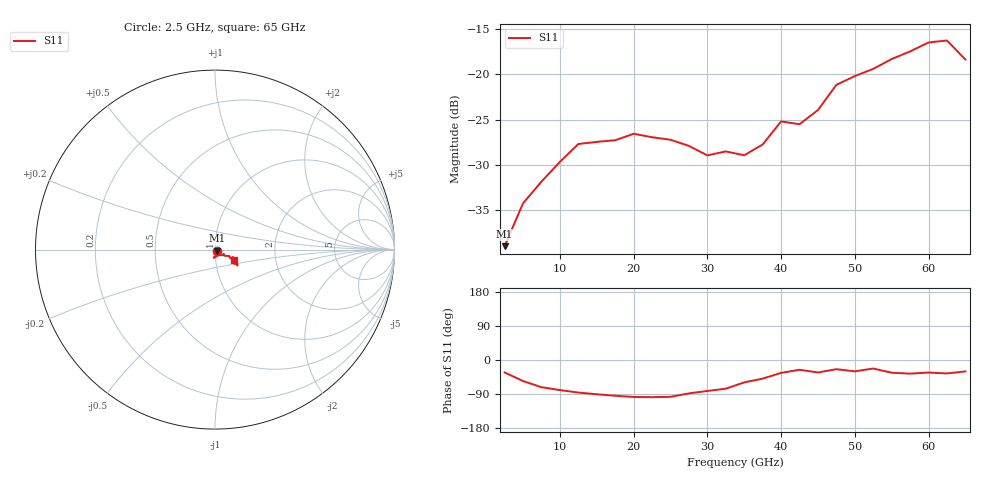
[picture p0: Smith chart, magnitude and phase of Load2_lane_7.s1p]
! File created by SignalIntegrity v1.5.1: Signal and Power Integrity Tools
! https://github.com/Nubis-Communications/SignalIntegrity
# MHz S MA R 50.0
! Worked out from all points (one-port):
!   26 points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, 2.5 GHz to 65 GHz, reference 50 ohm
!   lowest |S11| = -38.9 dB at 2.5 GHz (marker M1), VSWR 1.02, Z = 51 - j0.625 ohm
!   |S11| at or under -10 dB: start of sweep to end of sweep
2500  0.0113 -32.9
5000  0.01947 -55.5
7500  0.02565 -71.7
10000  0.03293 -79.4
12500  0.04131 -85.9
15000  0.04246 -90.4
17500  0.04334 -94.4
20000  0.04703 -97.6
22500  0.04502 -98.1
25000  0.04362 -97.2
27500  0.04035 -88.1
30000  0.03577 -81.7
32500  0.03761 -75.7
35000  0.0358 -59.1
37500  0.04106 -49.2
40000  0.05501 -34.0
42500  0.0531 -25.8
45000  0.06356 -32.9
47500  0.08752 -24.3
50000  0.09779 -29.9
52500  0.1072 -22.5
55000  0.1214 -33.5
57500  0.1336 -36.0
60000  0.1498 -33.1
62500  0.1537 -35.5
65000  0.1207 -30.1
